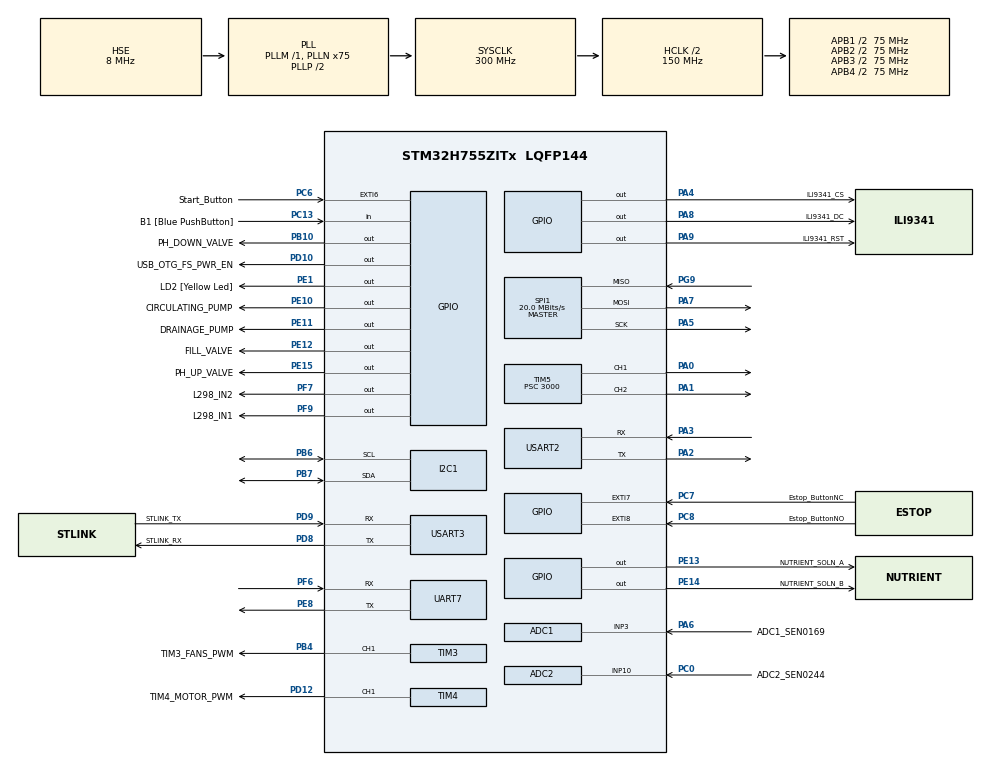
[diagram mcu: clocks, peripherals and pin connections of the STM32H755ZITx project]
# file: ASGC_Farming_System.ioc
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ADC1.Channel-0\#ChannelRegularConversion=ADC_CHANNEL_3
ADC1.NbrOfConversionFlag=1
ADC1.OffsetNumber-0\#ChannelRegularConversion=ADC_OFFSET_NONE
ADC1.OffsetSignedSaturation-0\#ChannelRegularConversion=DISABLE
ADC1.Rank-0\#ChannelRegularConversion=1
ADC1.Resolution=ADC_RESOLUTION_12B
ADC1.SamplingTime-0\#ChannelRegularConversion=ADC_SAMPLETIME_8CYCLES_5
ADC1.master=1
ADC2.Channel-3\#ChannelRegularConversion=ADC_CHANNEL_10
ADC2.NbrOfConversionFlag=1
ADC2.OffsetNumber-3\#ChannelRegularConversion=ADC_OFFSET_NONE
ADC2.OffsetSignedSaturation-3\#ChannelRegularConversion=DISABLE
ADC2.Rank-3\#ChannelRegularConversion=1
ADC2.Resolution=ADC_RESOLUTION_12B
ADC2.SamplingTime-3\#ChannelRegularConversion=ADC_SAMPLETIME_1CYCLE_5
CortexM4.IPs=FATFS_M4\:I,FREERTOS_M4\:I,IWDG2\:I,RCC,WWDG2\:I,DMA,BDMA,MDMA,NVIC2\:I,USART3,USB_DEVICE_M4\:I,USB_HOST_M4\:I,PDM2PCM_M4\:I,PWR,RESMGR_UTILITY,SYS_M4\:I,CORTEX_M4\:I,OPENAMP_M4\:I,VREFBUF,GPIO,TIM2\:I
CortexM7.IPs=FATFS_M7\:I,FREERTOS_M7\:I,IWDG1\:I,RCC\:I,WWDG1\:I,DMA\:I,BDMA\:I,MDMA\:I,NVIC1\:I,SYS\:I,CORTEX_M7\:I,USB_DEVICE_M7\:I,USB_HOST_M7\:I,PDM2PCM_M7\:I,PWR\:I,RESMGR_UTILITY\:I,OPENAMP_M7\:I,VREFBUF\:I,GPIO\:I,TIM1\:I,I2C1\:I,TIM3\:I,DEBUG\:I,USART2\:I,USART3\:I,ADC1\:I,TIM4\:I,ADC2\:I,SPI1\:I,UART7\:I,TIM5\:I
CortexM7.Pins=PF7,PF9,PA4,PE10,PE11,PE12,PE13,PE14,PE15,PB10,PC6,PC7,PC8,PA8,PA9
I2C1.Timing=0x109093DC
Mcu.Family=STM32H7
Mcu.Name=STM32H755ZITx
Mcu.Package=LQFP144
NVIC1.EXTI9_5_IRQn=true\:0\:0\:false\:false\:true\:true\:true\:true
NVIC1.PriorityGroup=NVIC_PRIORITYGROUP_4
NVIC2.PriorityGroup=NVIC_PRIORITYGROUP_4
PA0.PinAttribute=CortexM7
PA0.Signal=S_TIM5_CH1
PA1.PinAttribute=CortexM7
PA1.Signal=S_TIM5_CH2
PA2.Mode=Asynchronous
PA2.PinAttribute=CortexM7
PA2.Signal=USART2_TX
PA3.Mode=Asynchronous
PA3.PinAttribute=CortexM7
PA3.Signal=USART2_RX
PA4.GPIO_Label=ILI9341_CS
PA4.GPIO_Speed=GPIO_SPEED_FREQ_VERY_HIGH
PA4.PinAttribute=CortexM7
PA4.Signal=GPIO_Output
PA5.Mode=Full_Duplex_Master
PA5.PinAttribute=CortexM7
PA5.Signal=SPI1_SCK
PA6.GPIO_Label=ADC1_SEN0169
PA6.PinAttribute=CortexM7
PA6.Signal=ADCx_INP3
PA7.Mode=Full_Duplex_Master
PA7.PinAttribute=CortexM7
PA7.Signal=SPI1_MOSI
PA8.GPIO_Label=ILI9341_DC
PA8.GPIO_Speed=GPIO_SPEED_FREQ_VERY_HIGH
PA8.PinAttribute=CortexM7
PA8.Signal=GPIO_Output
PA9.GPIO_Label=ILI9341_RST
PA9.GPIO_Speed=GPIO_SPEED_FREQ_VERY_HIGH
PA9.PinAttribute=CortexM7
PA9.Signal=GPIO_Output
PB0.PinAttribute=CortexM7
PB0.Signal=USB_OTG_HS_ULPI_D1
PB10.GPIO_Label=PH_DOWN_VALVE
PB10.PinAttribute=CortexM7
PB10.Signal=GPIO_Output
PB14.PinAttribute=CortexM7
PB14.Signal=USB_OTG_HS_DM
PB4\ (NJTRST).GPIO_Label=TIM3_FANS_PWM
PB4\ (NJTRST).PinAttribute=CortexM7
PB4\ (NJTRST).Signal=S_TIM3_CH1
PB6.Mode=I2C
PB6.PinAttribute=CortexM7
PB6.Signal=I2C1_SCL
PB7.Mode=I2C
PB7.PinAttribute=CortexM7
PB7.Signal=I2C1_SDA
PC0.GPIO_Label=ADC2_SEN0244
PC0.PinAttribute=CortexM7
PC0.Signal=ADCx_INP10
PC13.GPIO_Label=B1 [Blue PushButton]
PC13.PinAttribute=Free
PC13.Signal=GPIO_Input
PC14-OSC32_IN\ (OSC32_IN).PinAttribute=CortexM7
PC14-OSC32_IN\ (OSC32_IN).Signal=RCC_OSC32_IN
PC15-OSC32_OUT\ (OSC32_OUT).PinAttribute=CortexM7
PC15-OSC32_OUT\ (OSC32_OUT).Signal=RCC_OSC32_OUT
PC6.GPIO_Label=Start_Button
PC6.GPIO_ModeDefaultEXTI=GPIO_MODE_IT_FALLING
PC6.GPIO_PuPd=GPIO_PULLDOWN
PC6.PinAttribute=CortexM7
PC6.Signal=GPXTI6
PC7.GPIO_Label=Estop_ButtonNC
PC7.GPIO_ModeDefaultEXTI=GPIO_MODE_IT_FALLING
PC7.GPIO_PuPd=GPIO_PULLDOWN
PC7.PinAttribute=CortexM7
PC7.Signal=GPXTI7
PC8.GPIO_Label=Estop_ButtonNO
PC8.GPIO_PuPd=GPIO_PULLDOWN
PC8.PinAttribute=CortexM7
PC8.Signal=GPXTI8
PD10.GPIO_Label=USB_OTG_FS_PWR_EN
PD10.PinAttribute=Free
PD10.Signal=GPIO_Output
PD12.GPIO_Label=TIM4_MOTOR_PWM
PD12.PinAttribute=CortexM7
PD12.Signal=S_TIM4_CH1
PD8.GPIO_Label=STLINK_RX
PD8.Mode=Asynchronous
PD8.PinAttribute=CortexM7
PD8.Signal=USART3_TX
PD9.GPIO_Label=STLINK_TX
PD9.Mode=Asynchronous
PD9.PinAttribute=CortexM7
PD9.Signal=USART3_RX
PE1.GPIO_Label=LD2 [Yellow Led]
PE1.PinAttribute=Free
PE1.Signal=GPIO_Output
PE10.GPIO_Label=CIRCULATING_PUMP
PE10.PinAttribute=CortexM7
PE10.Signal=GPIO_Output
PE11.GPIO_Label=DRAINAGE_PUMP
PE11.PinAttribute=CortexM7
PE11.Signal=GPIO_Output
PE12.GPIO_Label=FILL_VALVE
PE12.PinAttribute=CortexM7
PE12.Signal=GPIO_Output
PE13.GPIO_Label=NUTRIENT_SOLN_A
PE13.PinAttribute=CortexM7
PE13.Signal=GPIO_Output
PE14.GPIO_Label=NUTRIENT_SOLN_B
PE14.PinAttribute=CortexM7
PE14.Signal=GPIO_Output
PE15.GPIO_Label=PH_UP_VALVE
PE15.PinAttribute=CortexM7
PE15.Signal=GPIO_Output
PE8.Mode=Asynchronous
PE8.PinAttribute=CortexM7
PE8.Signal=UART7_TX
PF6.Mode=Asynchronous
PF6.PinAttribute=CortexM7
PF6.Signal=UART7_RX
PF7.GPIO_Label=L298_IN2
PF7.PinAttribute=CortexM7
PF7.Signal=GPIO_Output
PF9.GPIO_Label=L298_IN1
PF9.PinAttribute=CortexM7
PF9.Signal=GPIO_Output
PG11.PinAttribute=CortexM7
PG11.Signal=ETH_TX_EN
PG13.PinAttribute=CortexM7
PG13.Signal=ETH_TXD0
PG9.Mode=Full_Duplex_Master
PG9.PinAttribute=CortexM7
PG9.Signal=SPI1_MISO
PH0-OSC_IN\ (PH0).Mode=HSE-External-Oscillator
PH0-OSC_IN\ (PH0).PinAttribute=CortexM7
PH0-OSC_IN\ (PH0).Signal=RCC_OSC_IN
PH1-OSC_OUT\ (PH1).Mode=HSE-External-Oscillator
PH1-OSC_OUT\ (PH1).PinAttribute=CortexM7
PH1-OSC_OUT\ (PH1).Signal=RCC_OSC_OUT
ProjectManager.HeapSize=M4-0x200,M7-0x200
ProjectManager.StackSize=M4-0x400,M7-0x400
ProjectManager.TargetToolchain=STM32CubeIDE
RCC.ADCFreq_Value=76000000
RCC.APB1Freq_Value=75000000
RCC.APB2Freq_Value=75000000
RCC.APB3Freq_Value=75000000
RCC.APB4Freq_Value=75000000
RCC.CortexFreq_Value=300000000
RCC.D1PPRE=RCC_APB3_DIV2
RCC.D2PPRE1=RCC_APB1_DIV2
RCC.D2PPRE2=RCC_APB2_DIV2
RCC.D3PPRE=RCC_APB4_DIV2
RCC.DIVM1=1
RCC.DIVM2=1
RCC.DIVM3=3
RCC.DIVN1=75
RCC.DIVN2=19
RCC.DIVN3=60
RCC.DIVP3=4
RCC.DIVQ1=8
RCC.HCLKFreq_Value=150000000
RCC.HPRE=RCC_HCLK_DIV2
RCC.HSE_VALUE=8000000
RCC.PLL2FRACN=0
RCC.PLL3FRACN=0
RCC.PLLFRACN=0
RCC.PLLSourceVirtual=RCC_PLLSOURCE_HSE
RCC.PWR_Regulator_Voltage_Scale=PWR_REGULATOR_VOLTAGE_SCALE2
RCC.SPI123CLockSelection=RCC_SPI123CLKSOURCE_PLL3
RCC.SYSCLKFreq_VALUE=300000000
RCC.SYSCLKSource=RCC_SYSCLKSOURCE_PLLCLK
RCC.SupplySource=PWR_DIRECT_SMPS_SUPPLY
RCC.USBCLockSelection=RCC_USBCLKSOURCE_HSI48
RCC.USBFreq_Value=48000000
SH.ADCx_INP10.0=ADC2_INP10,IN10-Single-Ended
SH.ADCx_INP3.0=ADC1_INP3,IN3-Single-Ended
SH.S_TIM3_CH1.0=TIM3_CH1,PWM Generation1 CH1
SH.S_TIM4_CH1.0=TIM4_CH1,PWM Generation1 CH1
SH.S_TIM5_CH1.0=TIM5_CH1,PWM Generation1 CH1
SH.S_TIM5_CH2.0=TIM5_CH2,PWM Generation2 CH2
SPI1.CalculateBaudRate=20.0 MBits/s
SPI1.DataSize=SPI_DATASIZE_8BIT
SPI1.Direction=SPI_DIRECTION_2LINES
SPI1.Mode=SPI_MODE_MASTER
SPI1.NSSPMode=SPI_NSS_PULSE_DISABLE
SPI1.VirtualType=VM_MASTER
TIM3.AutoReloadPreload=TIM_AUTORELOAD_PRELOAD_ENABLE
TIM3.Channel-PWM\ Generation1\ CH1=TIM_CHANNEL_1
TIM3.Period=12000
TIM4.AutoReloadPreload=TIM_AUTORELOAD_PRELOAD_ENABLE
TIM4.Channel-PWM\ Generation1\ CH1=TIM_CHANNEL_1
TIM4.Period=60000
TIM5.Channel-PWM\ Generation1\ CH1=TIM_CHANNEL_1
TIM5.Channel-PWM\ Generation2\ CH2=TIM_CHANNEL_2
TIM5.Period=2000
TIM5.Prescaler=3000
USART2.VirtualMode-Asynchronous=VM_ASYNC
USART3.VirtualMode-Asynchronous=VM_ASYNC
VP_SYS_M4_VS_Systick.Mode=SysTick
VP_TIM3_VS_ClockSourceINT.Mode=Internal
VP_TIM4_VS_ClockSourceINT.Mode=Internal
VP_TIM5_VS_ClockSourceINT.Mode=Internal
VP_VREFBUF_V_VREFBUF.Mode=ExternalMode
board=NUCLEO-H755ZI-Q

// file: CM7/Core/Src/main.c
/* USER CODE BEGIN Header */
/**
  ******************************************************************************
  * @file           : main.c
  * @brief          : Main program body
  ******************************************************************************
  * @attention
  *
  * Copyright (c) 2025 STMicroelectronics.
  * All rights reserved.
  *
  * This software is licensed under terms that can be found in the LICENSE file
  * in the root directory of this software component.
  * If no LICENSE file comes with this software, it is provided AS-IS.
  *
  ******************************************************************************
  */
/* USER CODE END Header */
#include "main.h"

/* USER CODE BEGIN Includes */
#include "functionality_mngmnt.h"
#include "AHT20.h"
#include "FAN_pwm_intf.h"
#include "PWM.h"
#include "Buttons.h"
#include "timer.h"
#include "CNC.h"
#include "SEN0169.h"
#include "SEN0244.h"
#include "mixing_motor.h"
#include "gpio_switching_intf.h"
#include "Adafruit_AS7341.h"
#include "ILI9341/ILI9341_STM32_Driver.h"
#include "ILI9341/ILI9341_GFX.h"
#include "vl53l1_api.h"
#include "FSM.h"
#include "Scheduler.h"
#include "VL53L1X_prj.h"
#include "RPI_UART.h"

/* USER CODE END Includes */

/* USER CODE BEGIN PD */
#ifndef HSEM_ID_0
#define HSEM_ID_0 (0U) /* HW semaphore 0*/
#endif
/* USER CODE END PD */

ADC_HandleTypeDef hadc1;
ADC_HandleTypeDef hadc2;

I2C_HandleTypeDef hi2c1;

SPI_HandleTypeDef hspi1;

TIM_HandleTypeDef htim3;
TIM_HandleTypeDef htim4;
TIM_HandleTypeDef htim5;

UART_HandleTypeDef huart7;
UART_HandleTypeDef huart2;
UART_HandleTypeDef huart3;

/* USER CODE BEGIN PV */

/*-----------------------------------------------------------------------------
GLOBAL VARIABLES
-----------------------------------------------------------------------------*/

bool SYSTEM_START_STATE;            /* Global Start State, triggered by Start Button  */
bool SYSTEM_ESTOP_STATE;            /* Global EStop State, triggered by EStop Button  */

uint64_t globalTimestamp = 0;       /* Global timestamp in ms since system start      */
uint64_t systemStartTimestamp = 0;  /* Timestamp in ms of start button press          */

// VL53L1X Time of Flight Distance Sensor Data
VL53L1_RangingMeasurementData_t RangingData;
VL53L1_Dev_t  vl53l1_c; // center module
VL53L1_DEV    Dev = &vl53l1_c;

// AHT20 Temperature and Humidity Data
struct AHT20_Data AHT20_data;

// SEN0169 pH Data
SEN0169_pH_Data pH_Data;

// SEN0244 TDS Data
SEN0244_TDS_Data tdsData;

// AS7341 Spectral Sensor Data
uint16_t AS7341_Values[12];

/*-----------------------------------------------------------------------------
FUNCTION PROTOTYPES
-----------------------------------------------------------------------------*/
/* USER CODE END PV */

void SystemClock_Config(void);
void PeriphCommonClock_Config(void);
static void MX_GPIO_Init(void);
static void MX_USART3_UART_Init(void);
static void MX_I2C1_Init(void);
static void MX_TIM3_Init(void);
static void MX_USART2_UART_Init(void);
static void MX_ADC1_Init(void);
static void MX_TIM4_Init(void);
static void MX_ADC2_Init(void);
static void MX_SPI1_Init(void);
static void MX_UART7_Init(void);
static void MX_TIM5_Init(void);

/* USER CODE BEGIN 0 */

/*-----------------------------------------------------------------------------
MAIN() FUNCTION
-----------------------------------------------------------------------------*/
/* USER CODE END 0 */

int main(void)
{

  /* USER CODE BEGIN 1 */

  SYSTEM_START_STATE = SYSTEM_OFF;
  SYSTEM_ESTOP_STATE = SYSTEM_OFF;

  /* USER CODE END 1 */
/* USER CODE BEGIN Boot_Mode_Sequence_0 */
  int32_t timeout;
/* USER CODE END Boot_Mode_Sequence_0 */

/* USER CODE BEGIN Boot_Mode_Sequence_1 */
  /* Wait until CPU2 boots and enters in stop mode or timeout*/
  timeout = 0xFFFF;
  while((__HAL_RCC_GET_FLAG(RCC_FLAG_D2CKRDY) != RESET) && (timeout-- > 0));
  if ( timeout < 0 )
  {
  Error_Handler();
  }
/* USER CODE END Boot_Mode_Sequence_1 */
  /* MCU Configuration--------------------------------------------------------*/

  /* Reset of all peripherals, Initializes the Flash interface and the Systick. */
  HAL_Init();

  /* Configure the system clock */
  SystemClock_Config();

  /* Configure the peripherals common clocks */
  PeriphCommonClock_Config();
/* USER CODE BEGIN Boot_Mode_Sequence_2 */
/* When system initialization is finished, Cortex-M7 will release Cortex-M4 by means of
HSEM notification */
/*HW semaphore Clock enable*/
__HAL_RCC_HSEM_CLK_ENABLE();
/*Take HSEM */
HAL_HSEM_FastTake(HSEM_ID_0);
/*Release HSEM in order to notify the CPU2(CM4)*/
HAL_HSEM_Release(HSEM_ID_0,0);
/* wait until CPU2 wakes up from stop mode */
timeout = 0xFFFF;
while((__HAL_RCC_GET_FLAG(RCC_FLAG_D2CKRDY) == RESET) && (timeout-- > 0));
if ( timeout < 0 )
{
Error_Handler();
}
/* USER CODE END Boot_Mode_Sequence_2 */

  /* USER CODE BEGIN SysInit */
  /*---------------------------------------------------------------------------
  PERIPHERAL INITIALIZATION
  ---------------------------------------------------------------------------*/
  /* USER CODE END SysInit */

  /* Initialize all configured peripherals */
  MX_GPIO_Init();
  MX_USART3_UART_Init();
  MX_I2C1_Init();
  MX_TIM3_Init();
  MX_USART2_UART_Init();
  MX_ADC1_Init();
  MX_TIM4_Init();
  MX_ADC2_Init();
  MX_SPI1_Init();
  MX_UART7_Init();
  MX_TIM5_Init();
  /* USER CODE BEGIN 2 */

  /*---------------------------------------------------------------------------
  DEVICE DRIVER INITIALIZATION
  ---------------------------------------------------------------------------*/
  Buttons_Init(&SYSTEM_START_STATE);
  ASGC_Timer_Init();
  FAN_pwm_intf_Init(htim3);
  // PWM_VerticalServo_Init(htim); // add timer reference here
  // PWM_ShutterServo_Init(htim);  // add timer reference here
  mixing_motor_Init(htim4);
  HAL_Delay(45);             // Must be called prior to AHT20_Init()
  AHT20_Init(&hi2c1, 10000); // 10 second timeout
  SEN0169_Init();
  SEN0244_Init();
  GPIO_switching_intf_Init();
  Adafruit_AS7341_begin(AS7341_I2CADDR_DEFAULT, &hi2c1, 0);
  VL53L1X_prj_Init(Dev, &hi2c1);
  ILI9341_Init();

  if (CNC_Init() == SYS_SUCCESS) {

  }
  else {

  }

  /*---------------------------------------------------------------------------
  INITIALIZE ALL HIGH-LEVEL MODULES
  ---------------------------------------------------------------------------*/
  FSM_Init();
  Scheduler_Init();

  // Set screen orientation and background
  ILI9341_Set_Rotation(SCREEN_HORIZONTAL_2);
  ILI9341_Fill_Screen(BLACK);
  Write_Logo();
  // Display_Dashboard(int i);           // placeholder for now
  // Display_StartupScreen();            // placeholder for now
  // Display_EStopScreen();             // placeholder for now

  HAL_Delay(100);

  /* USER CODE END 2 */

  /* Infinite loop */
  while (1)
  {

    /* USER CODE BEGIN 3 */

    // Update global timestamp
  globalTimestamp = getTimestamp();

    // Update the FSM state
	FSM_Update();
    // Run the scheduler update every loop iteration
	Scheduler_Update();

	  //For testing purposes
	  //CNC_Home_Command();

    // Get distance measurement from VL53L1X ToF sensor
    // VL53L1X_GetRangingMeasurementData( Dev, &RangingData );

    //Test MOSTFET GPIO switching interface
//    GPIO_set_ph_up_valve(VALVE_OPEN);
//    HAL_Delay(3000);
//    GPIO_set_ph_up_valve(VALVE_CLOSED);
//    HAL_Delay(3000);

    mixing_motor_handle_state();

  }
  /* USER CODE END 3 */
}

void SystemClock_Config(void)
{
  RCC_OscInitTypeDef RCC_OscInitStruct = {0};
  RCC_ClkInitTypeDef RCC_ClkInitStruct = {0};

  /** Supply configuration update enable
  */
  HAL_PWREx_ConfigSupply(PWR_DIRECT_SMPS_SUPPLY);

  /** Configure the main internal regulator output voltage
  */
  __HAL_PWR_VOLTAGESCALING_CONFIG(PWR_REGULATOR_VOLTAGE_SCALE2);

  while(!__HAL_PWR_GET_FLAG(PWR_FLAG_VOSRDY)) {}

  /** Initializes the RCC Oscillators according to the specified parameters
  * in the RCC_OscInitTypeDef structure.
  */
  RCC_OscInitStruct.OscillatorType = RCC_OSCILLATORTYPE_HSE;
  RCC_OscInitStruct.HSEState = RCC_HSE_ON;
  RCC_OscInitStruct.PLL.PLLState = RCC_PLL_ON;
  RCC_OscInitStruct.PLL.PLLSource = RCC_PLLSOURCE_HSE;
  RCC_OscInitStruct.PLL.PLLM = 1;
  RCC_OscInitStruct.PLL.PLLN = 75;
  RCC_OscInitStruct.PLL.PLLP = 2;
  RCC_OscInitStruct.PLL.PLLQ = 8;
  RCC_OscInitStruct.PLL.PLLR = 2;
  RCC_OscInitStruct.PLL.PLLRGE = RCC_PLL1VCIRANGE_3;
  RCC_OscInitStruct.PLL.PLLVCOSEL = RCC_PLL1VCOWIDE;
  RCC_OscInitStruct.PLL.PLLFRACN = 0;
  if (HAL_RCC_OscConfig(&RCC_OscInitStruct) != HAL_OK)
  {
    Error_Handler();
  }

  /** Initializes the CPU, AHB and APB buses clocks
  */
  RCC_ClkInitStruct.ClockType = RCC_CLOCKTYPE_HCLK|RCC_CLOCKTYPE_SYSCLK
                              |RCC_CLOCKTYPE_PCLK1|RCC_CLOCKTYPE_PCLK2
                              |RCC_CLOCKTYPE_D3PCLK1|RCC_CLOCKTYPE_D1PCLK1;
  RCC_ClkInitStruct.SYSCLKSource = RCC_SYSCLKSOURCE_PLLCLK;
  RCC_ClkInitStruct.SYSCLKDivider = RCC_SYSCLK_DIV1;
  RCC_ClkInitStruct.AHBCLKDivider = RCC_HCLK_DIV2;
  RCC_ClkInitStruct.APB3CLKDivider = RCC_APB3_DIV2;
  RCC_ClkInitStruct.APB1CLKDivider = RCC_APB1_DIV2;
  RCC_ClkInitStruct.APB2CLKDivider = RCC_APB2_DIV2;
  RCC_ClkInitStruct.APB4CLKDivider = RCC_APB4_DIV2;

  if (HAL_RCC_ClockConfig(&RCC_ClkInitStruct, FLASH_LATENCY_2) != HAL_OK)
  {
    Error_Handler();
  }
}

void PeriphCommonClock_Config(void)
{
  RCC_PeriphCLKInitTypeDef PeriphClkInitStruct = {0};

  /** Initializes the peripherals clock
  */
  PeriphClkInitStruct.PeriphClockSelection = RCC_PERIPHCLK_ADC;
  PeriphClkInitStruct.PLL2.PLL2M = 1;
  PeriphClkInitStruct.PLL2.PLL2N = 19;
  PeriphClkInitStruct.PLL2.PLL2P = 2;
  PeriphClkInitStruct.PLL2.PLL2Q = 2;
  PeriphClkInitStruct.PLL2.PLL2R = 2;
  PeriphClkInitStruct.PLL2.PLL2RGE = RCC_PLL2VCIRANGE_3;
  PeriphClkInitStruct.PLL2.PLL2VCOSEL = RCC_PLL2VCOMEDIUM;
  PeriphClkInitStruct.PLL2.PLL2FRACN = 0;
  PeriphClkInitStruct.AdcClockSelection = RCC_ADCCLKSOURCE_PLL2;
  if (HAL_RCCEx_PeriphCLKConfig(&PeriphClkInitStruct) != HAL_OK)
  {
    Error_Handler();
  }
}

static void MX_ADC1_Init(void)
{

  ADC_MultiModeTypeDef multimode = {0};
  ADC_ChannelConfTypeDef sConfig = {0};

  /** Common config
  */
  hadc1.Instance = ADC1;
  hadc1.Init.ClockPrescaler = ADC_CLOCK_ASYNC_DIV2;
  hadc1.Init.Resolution = ADC_RESOLUTION_12B;
  hadc1.Init.ScanConvMode = ADC_SCAN_DISABLE;
  hadc1.Init.EOCSelection = ADC_EOC_SINGLE_CONV;
  hadc1.Init.LowPowerAutoWait = DISABLE;
  hadc1.Init.ContinuousConvMode = DISABLE;
  hadc1.Init.NbrOfConversion = 1;
  hadc1.Init.DiscontinuousConvMode = DISABLE;
  hadc1.Init.ExternalTrigConv = ADC_SOFTWARE_START;
  hadc1.Init.ExternalTrigConvEdge = ADC_EXTERNALTRIGCONVEDGE_NONE;
  hadc1.Init.ConversionDataManagement = ADC_CONVERSIONDATA_DR;
  hadc1.Init.Overrun = ADC_OVR_DATA_PRESERVED;
  hadc1.Init.LeftBitShift = ADC_LEFTBITSHIFT_NONE;
  hadc1.Init.OversamplingMode = DISABLE;
  hadc1.Init.Oversampling.Ratio = 1;
  if (HAL_ADC_Init(&hadc1) != HAL_OK)
  {
    Error_Handler();
  }

  /** Configure the ADC multi-mode
  */
  multimode.Mode = ADC_MODE_INDEPENDENT;
  if (HAL_ADCEx_MultiModeConfigChannel(&hadc1, &multimode) != HAL_OK)
  {
    Error_Handler();
  }

  /** Configure Regular Channel
  */
  sConfig.Channel = ADC_CHANNEL_3;
  sConfig.Rank = ADC_REGULAR_RANK_1;
  sConfig.SamplingTime = ADC_SAMPLETIME_8CYCLES_5;
  sConfig.SingleDiff = ADC_SINGLE_ENDED;
  sConfig.OffsetNumber = ADC_OFFSET_NONE;
  sConfig.Offset = 0;
  sConfig.OffsetSignedSaturation = DISABLE;
  if (HAL_ADC_ConfigChannel(&hadc1, &sConfig) != HAL_OK)
  {
    Error_Handler();
  }

}

static void MX_ADC2_Init(void)
{

  ADC_ChannelConfTypeDef sConfig = {0};

  /** Common config
  */
  hadc2.Instance = ADC2;
  hadc2.Init.ClockPrescaler = ADC_CLOCK_ASYNC_DIV2;
  hadc2.Init.Resolution = ADC_RESOLUTION_12B;
  hadc2.Init.ScanConvMode = ADC_SCAN_DISABLE;
  hadc2.Init.EOCSelection = ADC_EOC_SINGLE_CONV;
  hadc2.Init.LowPowerAutoWait = DISABLE;
  hadc2.Init.ContinuousConvMode = DISABLE;
  hadc2.Init.NbrOfConversion = 1;
  hadc2.Init.DiscontinuousConvMode = DISABLE;
  hadc2.Init.ExternalTrigConv = ADC_SOFTWARE_START;
  hadc2.Init.ExternalTrigConvEdge = ADC_EXTERNALTRIGCONVEDGE_NONE;
  hadc2.Init.ConversionDataManagement = ADC_CONVERSIONDATA_DR;
  hadc2.Init.Overrun = ADC_OVR_DATA_PRESERVED;
  hadc2.Init.LeftBitShift = ADC_LEFTBITSHIFT_NONE;
  hadc2.Init.OversamplingMode = DISABLE;
  hadc2.Init.Oversampling.Ratio = 1;
  if (HAL_ADC_Init(&hadc2) != HAL_OK)
  {
    Error_Handler();
  }

  /** Configure Regular Channel
  */
  sConfig.Channel = ADC_CHANNEL_10;
  sConfig.Rank = ADC_REGULAR_RANK_1;
  sConfig.SamplingTime = ADC_SAMPLETIME_1CYCLE_5;
  sConfig.SingleDiff = ADC_SINGLE_ENDED;
  sConfig.OffsetNumber = ADC_OFFSET_NONE;
  sConfig.Offset = 0;
  sConfig.OffsetSignedSaturation = DISABLE;
  if (HAL_ADC_ConfigChannel(&hadc2, &sConfig) != HAL_OK)
  {
    Error_Handler();
  }

}

static void MX_I2C1_Init(void)
{

  hi2c1.Instance = I2C1;
  hi2c1.Init.Timing = 0x109093DC;
  hi2c1.Init.OwnAddress1 = 0;
  hi2c1.Init.AddressingMode = I2C_ADDRESSINGMODE_7BIT;
  hi2c1.Init.DualAddressMode = I2C_DUALADDRESS_DISABLE;
  hi2c1.Init.OwnAddress2 = 0;
  hi2c1.Init.OwnAddress2Masks = I2C_OA2_NOMASK;
  hi2c1.Init.GeneralCallMode = I2C_GENERALCALL_DISABLE;
  hi2c1.Init.NoStretchMode = I2C_NOSTRETCH_DISABLE;
  if (HAL_I2C_Init(&hi2c1) != HAL_OK)
  {
    Error_Handler();
  }

  /** Configure Analogue filter
  */
  if (HAL_I2CEx_ConfigAnalogFilter(&hi2c1, I2C_ANALOGFILTER_ENABLE) != HAL_OK)
  {
    Error_Handler();
  }

  /** Configure Digital filter
  */
  if (HAL_I2CEx_ConfigDigitalFilter(&hi2c1, 0) != HAL_OK)
  {
    Error_Handler();
  }

}

static void MX_SPI1_Init(void)
{

  /* SPI1 parameter configuration*/
  hspi1.Instance = SPI1;
  hspi1.Init.Mode = SPI_MODE_MASTER;
  hspi1.Init.Direction = SPI_DIRECTION_2LINES;
  hspi1.Init.DataSize = SPI_DATASIZE_8BIT;
  hspi1.Init.CLKPolarity = SPI_POLARITY_LOW;
  hspi1.Init.CLKPhase = SPI_PHASE_1EDGE;
  hspi1.Init.NSS = SPI_NSS_SOFT;
  hspi1.Init.BaudRatePrescaler = SPI_BAUDRATEPRESCALER_2;
  hspi1.Init.FirstBit = SPI_FIRSTBIT_MSB;
  hspi1.Init.TIMode = SPI_TIMODE_DISABLE;
  hspi1.Init.CRCCalculation = SPI_CRCCALCULATION_DISABLE;
  hspi1.Init.CRCPolynomial = 0x0;
  hspi1.Init.NSSPMode = SPI_NSS_PULSE_DISABLE;
  hspi1.Init.NSSPolarity = SPI_NSS_POLARITY_LOW;
  hspi1.Init.FifoThreshold = SPI_FIFO_THRESHOLD_01DATA;
  hspi1.Init.TxCRCInitializationPattern = SPI_CRC_INITIALIZATION_ALL_ZERO_PATTERN;
  hspi1.Init.RxCRCInitializationPattern = SPI_CRC_INITIALIZATION_ALL_ZERO_PATTERN;
  hspi1.Init.MasterSSIdleness = SPI_MASTER_SS_IDLENESS_00CYCLE;
  hspi1.Init.MasterInterDataIdleness = SPI_MASTER_INTERDATA_IDLENESS_00CYCLE;
  hspi1.Init.MasterReceiverAutoSusp = SPI_MASTER_RX_AUTOSUSP_DISABLE;
  hspi1.Init.MasterKeepIOState = SPI_MASTER_KEEP_IO_STATE_DISABLE;
  hspi1.Init.IOSwap = SPI_IO_SWAP_DISABLE;
  if (HAL_SPI_Init(&hspi1) != HAL_OK)
  {
    Error_Handler();
  }

}

static void MX_TIM3_Init(void)
{

  TIM_ClockConfigTypeDef sClockSourceConfig = {0};
  TIM_MasterConfigTypeDef sMasterConfig = {0};
  TIM_OC_InitTypeDef sConfigOC = {0};

  htim3.Instance = TIM3;
  htim3.Init.Prescaler = 0;
  htim3.Init.CounterMode = TIM_COUNTERMODE_UP;
  htim3.Init.Period = 12000;
  htim3.Init.ClockDivision = TIM_CLOCKDIVISION_DIV1;
  htim3.Init.AutoReloadPreload = TIM_AUTORELOAD_PRELOAD_ENABLE;
  if (HAL_TIM_Base_Init(&htim3) != HAL_OK)
  {
    Error_Handler();
  }
  sClockSourceConfig.ClockSource = TIM_CLOCKSOURCE_INTERNAL;
  if (HAL_TIM_ConfigClockSource(&htim3, &sClockSourceConfig) != HAL_OK)
  {
    Error_Handler();
  }
  if (HAL_TIM_PWM_Init(&htim3) != HAL_OK)
  {
    Error_Handler();
  }
  sMasterConfig.MasterOutputTrigger = TIM_TRGO_RESET;
  sMasterConfig.MasterSlaveMode = TIM_MASTERSLAVEMODE_DISABLE;
  if (HAL_TIMEx_MasterConfigSynchronization(&htim3, &sMasterConfig) != HAL_OK)
  {
    Error_Handler();
  }
  sConfigOC.OCMode = TIM_OCMODE_PWM1;
  sConfigOC.Pulse = 0;
  sConfigOC.OCPolarity = TIM_OCPOLARITY_HIGH;
  sConfigOC.OCFastMode = TIM_OCFAST_DISABLE;
  if (HAL_TIM_PWM_ConfigChannel(&htim3, &sConfigOC, TIM_CHANNEL_1) != HAL_OK)
  {
    Error_Handler();
  }
  HAL_TIM_MspPostInit(&htim3);

}

static void MX_TIM4_Init(void)
{

  TIM_ClockConfigTypeDef sClockSourceConfig = {0};
  TIM_MasterConfigTypeDef sMasterConfig = {0};
  TIM_OC_InitTypeDef sConfigOC = {0};

  htim4.Instance = TIM4;
  htim4.Init.Prescaler = 0;
  htim4.Init.CounterMode = TIM_COUNTERMODE_UP;
  htim4.Init.Period = 60000;
  htim4.Init.ClockDivision = TIM_CLOCKDIVISION_DIV1;
  htim4.Init.AutoReloadPreload = TIM_AUTORELOAD_PRELOAD_ENABLE;
  if (HAL_TIM_Base_Init(&htim4) != HAL_OK)
  {
    Error_Handler();
  }
  sClockSourceConfig.ClockSource = TIM_CLOCKSOURCE_INTERNAL;
  if (HAL_TIM_ConfigClockSource(&htim4, &sClockSourceConfig) != HAL_OK)
  {
    Error_Handler();
  }
  if (HAL_TIM_PWM_Init(&htim4) != HAL_OK)
  {
    Error_Handler();
  }
  sMasterConfig.MasterOutputTrigger = TIM_TRGO_RESET;
  sMasterConfig.MasterSlaveMode = TIM_MASTERSLAVEMODE_DISABLE;
  if (HAL_TIMEx_MasterConfigSynchronization(&htim4, &sMasterConfig) != HAL_OK)
  {
    Error_Handler();
  }
  sConfigOC.OCMode = TIM_OCMODE_PWM1;
  sConfigOC.Pulse = 0;
  sConfigOC.OCPolarity = TIM_OCPOLARITY_HIGH;
  sConfigOC.OCFastMode = TIM_OCFAST_DISABLE;
  if (HAL_TIM_PWM_ConfigChannel(&htim4, &sConfigOC, TIM_CHANNEL_1) != HAL_OK)
  {
    Error_Handler();
  }
  HAL_TIM_MspPostInit(&htim4);

}

static void MX_TIM5_Init(void)
{

  TIM_ClockConfigTypeDef sClockSourceConfig = {0};
  TIM_MasterConfigTypeDef sMasterConfig = {0};
  TIM_OC_InitTypeDef sConfigOC = {0};

  htim5.Instance = TIM5;
  htim5.Init.Prescaler = 3000;
  htim5.Init.CounterMode = TIM_COUNTERMODE_UP;
  htim5.Init.Period = 2000;
  htim5.Init.ClockDivision = TIM_CLOCKDIVISION_DIV1;
  htim5.Init.AutoReloadPreload = TIM_AUTORELOAD_PRELOAD_DISABLE;
  if (HAL_TIM_Base_Init(&htim5) != HAL_OK)
  {
    Error_Handler();
  }
  sClockSourceConfig.ClockSource = TIM_CLOCKSOURCE_INTERNAL;
  if (HAL_TIM_ConfigClockSource(&htim5, &sClockSourceConfig) != HAL_OK)
  {
    Error_Handler();
  }
  if (HAL_TIM_PWM_Init(&htim5) != HAL_OK)
  {
    Error_Handler();
  }
  sMasterConfig.MasterOutputTrigger = TIM_TRGO_RESET;
  sMasterConfig.MasterSlaveMode = TIM_MASTERSLAVEMODE_DISABLE;
  if (HAL_TIMEx_MasterConfigSynchronization(&htim5, &sMasterConfig) != HAL_OK)
  {
    Error_Handler();
  }
  sConfigOC.OCMode = TIM_OCMODE_PWM1;
  sConfigOC.Pulse = 0;
  sConfigOC.OCPolarity = TIM_OCPOLARITY_HIGH;
  sConfigOC.OCFastMode = TIM_OCFAST_DISABLE;
  if (HAL_TIM_PWM_ConfigChannel(&htim5, &sConfigOC, TIM_CHANNEL_1) != HAL_OK)
  {
    Error_Handler();
  }
  if (HAL_TIM_PWM_ConfigChannel(&htim5, &sConfigOC, TIM_CHANNEL_2) != HAL_OK)
  {
    Error_Handler();
  }
  HAL_TIM_MspPostInit(&htim5);

}

static void MX_UART7_Init(void)
{

  huart7.Instance = UART7;
  huart7.Init.BaudRate = 115200;
  huart7.Init.WordLength = UART_WORDLENGTH_8B;
  huart7.Init.StopBits = UART_STOPBITS_1;
  huart7.Init.Parity = UART_PARITY_NONE;
  huart7.Init.Mode = UART_MODE_TX_RX;
  huart7.Init.HwFlowCtl = UART_HWCONTROL_NONE;
  huart7.Init.OverSampling = UART_OVERSAMPLING_16;
  huart7.Init.OneBitSampling = UART_ONE_BIT_SAMPLE_DISABLE;
  huart7.Init.ClockPrescaler = UART_PRESCALER_DIV1;
  huart7.AdvancedInit.AdvFeatureInit = UART_ADVFEATURE_NO_INIT;
  if (HAL_UART_Init(&huart7) != HAL_OK)
  {
    Error_Handler();
  }
  if (HAL_UARTEx_SetTxFifoThreshold(&huart7, UART_TXFIFO_THRESHOLD_1_8) != HAL_OK)
  {
    Error_Handler();
  }
  if (HAL_UARTEx_SetRxFifoThreshold(&huart7, UART_RXFIFO_THRESHOLD_1_8) != HAL_OK)
  {
    Error_Handler();
  }
  if (HAL_UARTEx_DisableFifoMode(&huart7) != HAL_OK)
  {
    Error_Handler();
  }

}

static void MX_USART2_UART_Init(void)
{

  huart2.Instance = USART2;
  huart2.Init.BaudRate = 115200;
  huart2.Init.WordLength = UART_WORDLENGTH_8B;
  huart2.Init.StopBits = UART_STOPBITS_1;
  huart2.Init.Parity = UART_PARITY_NONE;
  huart2.Init.Mode = UART_MODE_TX_RX;
  huart2.Init.HwFlowCtl = UART_HWCONTROL_NONE;
  huart2.Init.OverSampling = UART_OVERSAMPLING_16;
  huart2.Init.OneBitSampling = UART_ONE_BIT_SAMPLE_DISABLE;
  huart2.Init.ClockPrescaler = UART_PRESCALER_DIV1;
  huart2.AdvancedInit.AdvFeatureInit = UART_ADVFEATURE_NO_INIT;
  if (HAL_UART_Init(&huart2) != HAL_OK)
  {
    Error_Handler();
  }
  if (HAL_UARTEx_SetTxFifoThreshold(&huart2, UART_TXFIFO_THRESHOLD_1_8) != HAL_OK)
  {
    Error_Handler();
  }
  if (HAL_UARTEx_SetRxFifoThreshold(&huart2, UART_RXFIFO_THRESHOLD_1_8) != HAL_OK)
  {
    Error_Handler();
  }
  if (HAL_UARTEx_DisableFifoMode(&huart2) != HAL_OK)
  {
    Error_Handler();
  }

}

static void MX_USART3_UART_Init(void)
{

  huart3.Instance = USART3;
  huart3.Init.BaudRate = 115200;
  huart3.Init.WordLength = UART_WORDLENGTH_8B;
  huart3.Init.StopBits = UART_STOPBITS_1;
  huart3.Init.Parity = UART_PARITY_NONE;
  huart3.Init.Mode = UART_MODE_TX_RX;
  huart3.Init.HwFlowCtl = UART_HWCONTROL_NONE;
  huart3.Init.OverSampling = UART_OVERSAMPLING_16;
  huart3.Init.OneBitSampling = UART_ONE_BIT_SAMPLE_DISABLE;
  huart3.Init.ClockPrescaler = UART_PRESCALER_DIV1;
  huart3.AdvancedInit.AdvFeatureInit = UART_ADVFEATURE_NO_INIT;
  if (HAL_UART_Init(&huart3) != HAL_OK)
  {
    Error_Handler();
  }
  if (HAL_UARTEx_SetTxFifoThreshold(&huart3, UART_TXFIFO_THRESHOLD_1_8) != HAL_OK)
  {
    Error_Handler();
  }
  if (HAL_UARTEx_SetRxFifoThreshold(&huart3, UART_RXFIFO_THRESHOLD_1_8) != HAL_OK)
  {
    Error_Handler();
  }
  if (HAL_UARTEx_DisableFifoMode(&huart3) != HAL_OK)
  {
    Error_Handler();
  }

}

static void MX_GPIO_Init(void)
{
  GPIO_InitTypeDef GPIO_InitStruct = {0};

  /* GPIO Ports Clock Enable */
  __HAL_RCC_GPIOC_CLK_ENABLE();
  __HAL_RCC_GPIOF_CLK_ENABLE();
  __HAL_RCC_GPIOH_CLK_ENABLE();
  __HAL_RCC_GPIOA_CLK_ENABLE();
  __HAL_RCC_GPIOB_CLK_ENABLE();
  __HAL_RCC_GPIOE_CLK_ENABLE();
  __HAL_RCC_GPIOD_CLK_ENABLE();
  __HAL_RCC_GPIOG_CLK_ENABLE();

  /*Configure GPIO pin Output Level */
  HAL_GPIO_WritePin(GPIOF, L298_IN2_Pin|L298_IN1_Pin, GPIO_PIN_RESET);

  /*Configure GPIO pin Output Level */
  HAL_GPIO_WritePin(GPIOA, ILI9341_CS_Pin|ILI9341_DC_Pin|ILI9341_RST_Pin, GPIO_PIN_RESET);

  /*Configure GPIO pin Output Level */
  HAL_GPIO_WritePin(GPIOE, CIRCULATING_PUMP_Pin|DRAINAGE_PUMP_Pin|FILL_VALVE_Pin|NUTRIENT_SOLN_A_Pin
                          |NUTRIENT_SOLN_B_Pin|PH_UP_VALVE_Pin, GPIO_PIN_RESET);

  /*Configure GPIO pin Output Level */
  HAL_GPIO_WritePin(PH_DOWN_VALVE_GPIO_Port, PH_DOWN_VALVE_Pin, GPIO_PIN_RESET);

  /*Configure GPIO pins : L298_IN2_Pin L298_IN1_Pin */
  GPIO_InitStruct.Pin = L298_IN2_Pin|L298_IN1_Pin;
  GPIO_InitStruct.Mode = GPIO_MODE_OUTPUT_PP;
  GPIO_InitStruct.Pull = GPIO_NOPULL;
  GPIO_InitStruct.Speed = GPIO_SPEED_FREQ_LOW;
  HAL_GPIO_Init(GPIOF, &GPIO_InitStruct);

  /*Configure GPIO pins : ILI9341_CS_Pin ILI9341_DC_Pin ILI9341_RST_Pin */
  GPIO_InitStruct.Pin = ILI9341_CS_Pin|ILI9341_DC_Pin|ILI9341_RST_Pin;
  GPIO_InitStruct.Mode = GPIO_MODE_OUTPUT_PP;
  GPIO_InitStruct.Pull = GPIO_NOPULL;
  GPIO_InitStruct.Speed = GPIO_SPEED_FREQ_VERY_HIGH;
  HAL_GPIO_Init(GPIOA, &GPIO_InitStruct);

  /*Configure GPIO pin : PB0 */
  GPIO_InitStruct.Pin = GPIO_PIN_0;
  GPIO_InitStruct.Mode = GPIO_MODE_AF_PP;
  GPIO_InitStruct.Pull = GPIO_NOPULL;
  GPIO_InitStruct.Speed = GPIO_SPEED_FREQ_HIGH;
  GPIO_InitStruct.Alternate = GPIO_AF10_OTG2_HS;
  HAL_GPIO_Init(GPIOB, &GPIO_InitStruct);

  /*Configure GPIO pins : CIRCULATING_PUMP_Pin DRAINAGE_PUMP_Pin FILL_VALVE_Pin NUTRIENT_SOLN_A_Pin
                           NUTRIENT_SOLN_B_Pin PH_UP_VALVE_Pin */
  GPIO_InitStruct.Pin = CIRCULATING_PUMP_Pin|DRAINAGE_PUMP_Pin|FILL_VALVE_Pin|NUTRIENT_SOLN_A_Pin
                          |NUTRIENT_SOLN_B_Pin|PH_UP_VALVE_Pin;
  GPIO_InitStruct.Mode = GPIO_MODE_OUTPUT_PP;
  GPIO_InitStruct.Pull = GPIO_NOPULL;
  GPIO_InitStruct.Speed = GPIO_SPEED_FREQ_LOW;
  HAL_GPIO_Init(GPIOE, &GPIO_InitStruct);

  /*Configure GPIO pin : PH_DOWN_VALVE_Pin */
  GPIO_InitStruct.Pin = PH_DOWN_VALVE_Pin;
  GPIO_InitStruct.Mode = GPIO_MODE_OUTPUT_PP;
  GPIO_InitStruct.Pull = GPIO_NOPULL;
  GPIO_InitStruct.Speed = GPIO_SPEED_FREQ_LOW;
  HAL_GPIO_Init(PH_DOWN_VALVE_GPIO_Port, &GPIO_InitStruct);

  /*Configure GPIO pin : PB14 */
  GPIO_InitStruct.Pin = GPIO_PIN_14;
  GPIO_InitStruct.Mode = GPIO_MODE_AF_PP;
  GPIO_InitStruct.Pull = GPIO_NOPULL;
  GPIO_InitStruct.Speed = GPIO_SPEED_FREQ_LOW;
  GPIO_InitStruct.Alternate = GPIO_AF12_OTG2_FS;
  HAL_GPIO_Init(GPIOB, &GPIO_InitStruct);

  /*Configure GPIO pins : Start_Button_Pin Estop_ButtonNC_Pin */
  GPIO_InitStruct.Pin = Start_Button_Pin|Estop_ButtonNC_Pin;
  GPIO_InitStruct.Mode = GPIO_MODE_IT_FALLING;
  GPIO_InitStruct.Pull = GPIO_PULLDOWN;
  HAL_GPIO_Init(GPIOC, &GPIO_InitStruct);

  /*Configure GPIO pin : Estop_ButtonNO_Pin */
  GPIO_InitStruct.Pin = Estop_ButtonNO_Pin;
  GPIO_InitStruct.Mode = GPIO_MODE_IT_RISING;
  GPIO_InitStruct.Pull = GPIO_PULLDOWN;
  HAL_GPIO_Init(Estop_ButtonNO_GPIO_Port, &GPIO_InitStruct);

  /*Configure GPIO pins : PG11 PG13 */
  GPIO_InitStruct.Pin = GPIO_PIN_11|GPIO_PIN_13;
  GPIO_InitStruct.Mode = GPIO_MODE_AF_PP;
  GPIO_InitStruct.Pull = GPIO_NOPULL;
  GPIO_InitStruct.Speed = GPIO_SPEED_FREQ_LOW;
  GPIO_InitStruct.Alternate = GPIO_AF11_ETH;
  HAL_GPIO_Init(GPIOG, &GPIO_InitStruct);

  /* EXTI interrupt init*/
  HAL_NVIC_SetPriority(Start_Button_EXTI_IRQn, 0, 0);
  HAL_NVIC_EnableIRQ(Start_Button_EXTI_IRQn);

}

/* USER CODE BEGIN 4 */

/*------------------------------------------------------------------------------
 *
 * 	HAL_GPIO_EXTI_Callback
 *
 * 		Interrupt Callback function for GPIO Interrupts
 *
------------------------------------------------------------------------------*/
void HAL_GPIO_EXTI_Callback(uint16_t GPIO_Pin)
{
    // If The INT Source Is The start button (PC6)
    if(GPIO_Pin == GPIO_PIN_6)
    {
      Buttons_start_button_intrpt(&SYSTEM_START_STATE);
    }

    // If The INT Source Is The EStop button (PC8 and PC7)
    // The EStop Button uses two wires to determine a press. One is normally
    // open (NO), and the other is normally closed (NC). This prevents any
    // transients from accidentally registering an ESTOP press
    else if (GPIO_Pin == GPIO_PIN_7 || GPIO_Pin == GPIO_PIN_8) {

    	if ( HAL_GPIO_ReadPin(GPIOC, GPIO_PIN_8) == GPIO_PIN_SET
    	&& ( HAL_GPIO_ReadPin(GPIOC, GPIO_PIN_7) == GPIO_PIN_RESET)) {
    		Buttons_estop_button_intrpt(&SYSTEM_ESTOP_STATE, SYSTEM_START_STATE);
    	}
    }
}

/*------------------------------------------------------------------------------
 *
 * 	ASGC_System_Startup
 *
 * 		Function called when system transitions on after the start button is
 * 		pressed.
 *
------------------------------------------------------------------------------*/
void ASGC_System_Startup() {
  ILI9341_Fill_Screen(BLACK);
}

/*------------------------------------------------------------------------------
 *
 * 	ASGC_System_ESTOP
 *
 * 		Function called to stop all movement and pacify the system when the
 * 		estop button is pressed. Function will need to be expanded as
 * 		functionality is implemented.
 *
------------------------------------------------------------------------------*/
void ASGC_System_ESTOP() {

	// Disable all tasks
	for (Scheduler_Task_ID_t i = 0; i < NUM_SCHEDULER_TASKS; i++) {
		Scheduler_Disable_Task(i);
	}

	//Send stop movement command over USB

	//Stop the mixing motor

	//Close all valves and stop all pumps

	//Set fans to 0 duty cycle (Will not fully stop fans, these fans will still
  //still spin at a minimum RPM at 0%)
  FAN_pwm_intf_set_duty(FAN_PWM_INTF_0_PCT_DUTY);

	//Send information to display indicating ESTOP Press

	//Send information to Raspberry Pi indicating ESTOP Press
  ILI9341_Fill_Screen(BLACK);
  Display_EStopScreen();
	//Stop USB Host Traffic

	//Shut down any analog traffic (EC/pH sensors)

	//Stop I2C Traffic
  HAL_I2C_DeInit(&hi2c1);

  //(Potentially) Deregister interrupts?

  // Disable interrupts
  __disable_irq();
  // Locked in loop until power cycle
  while(1) {
    //May need to send data to the display here
  }

}

/*------------------------------------------------------------------------------
 *
 * 	uint8_t ASGC_System_DispenseSeeds(float holeX, float holeY)
 *
 *    This function is a helper function which will:
 *      Move the gantry to the specified position (using G-Code)
 *      Poll for confirmation that gantry is at the hole
 *      Send PWM Signal to open the seed dispenser shutter
 *      Confirm the shutter has opened, then Wait for seeds to dispense
 *      Send PWM Signal to close seed dispenser shutter
 *      Confirm the shutter has closed, then Wait for 2 seconds
 *
 *    This function has the following return codes:
 *        0 = Success
 *        1 = Gantry failed to reach position
 *        2 = Shutter failed to open/close
 *        3 = X/Y Position is invalid
 *        4 = Helper function is busy/working
 *
------------------------------------------------------------------------------*/
uint8_t DispenseSeeds_HelperFunc(float holeX, float holeY) {

/*  // Enum for different states
  typedef enum {
    COMPLETE = 0,
    MOVING_TO_HOLE,
    OPENING_SHUTTER,
    CLOSING_SHUTTER,
    BUSY_WAITING
  } DISPENSING_STATE;

  // Initialize static vars
  static uint64_t referenceTimestamp = 0;
  static DISPENSING_STATE functionState = MOVING_TO_HOLE;
  static DISPENSING_STATE previousState = BUSY_WAITING;

  switch (functionState) {
    case MOVING_TO_HOLE:
      // Check X/Y position is within bounds -- if not, return XY error code
      if (holeX < CNC_MIN_X_POS_MM || holeX > CNC_MAX_X_POS_MM
          || holeY < CNC_MIN_Y_POS_MM || holeY > CNC_MAX_Y_POS_MM) {
        return DISPENSE_FAIL_XY_POS;
      }

      // Update state machine variables
      functionState = BUSY_WAITING;
      previousState = MOVING_TO_HOLE;
      // referenceTimestamp = getTimestamp(); // wait until Timer.h is included to update timestamp with current time

      // Perform associated function (move to hole)
      CNC_Move_To_Pos(holeX, holeY);
      break;

    case OPENING_SHUTTER:
      // Update state machine variables
      functionState = BUSY_WAITING;
      previousState = OPENING_SHUTTER;
      // referenceTimestamp = getTimestamp(); // wait until Timer.h is included to update timestamp with current time

      // Perform associated function (open shutter)
      // open_shutter();
      break;

    case CLOSING_SHUTTER:
      // Update state machine variables
      functionState = BUSY_WAITING;
      previousState = OPENING_SHUTTER;
      // referenceTimestamp = getTimestamp(); // wait until Timer.h is included to use getTimestamp()

      // Perform associated function (close shutter)
      // close_shutter();
      break;

    case BUSY_WAITING:

      // Use our previous state to determine our logic in waiting
      switch (previousState) {
        case MOVING_TO_HOLE:
          // After we've given some time to move, confirm gantry is at hole
          // if (getTimestamp() - referenceTimestamp > DISPENSE_MOVING_MS) { // wait until Timer.h is included to use getTimestamp()

          // Check if gantry is in position
          //   if (GantryInPosition)
          //    functionState = OPENING_SHUTTER;
          //    previousState = BUSY_WAITING;
          //    return DISPENSE_BUSY;

          // If gantry is not in position, return gantry fail code
          //   functionState = MOVING_TO_HOLE;
          //   previousState = BUSY_WAITING;
          //   referenceTimestamp = 0;
          //   return DISPENSE_FAIL_GANTRY;
          // }
          break;

        case OPENING_SHUTTER:
          // Confirm shutter is open and that seeds have had time to dispense (0.5s)
          // if (ShutterIsOpen && seedsHadTimeToDisperse)
          //  functionState = CLOSING_SHUTTER;
          //  previousState = BUSY_WAITING;
          //  return DISPENSE_BUSY;

          // If the shutter doesn't open after 2 seconds, return shutter fail code
          // if (getTimestamp() - referenceTimestamp > 2000) { // wait until Timer.h is included to use getTimestamp()
          //   functionState = MOVING_TO_HOLE;
          //   previousState = BUSY_WAITING;
          //   referenceTimestamp = 0;
          //   return DISPENSE_FAIL_SHUTTER;
          // }
          break;

        case CLOSING_SHUTTER:
          // Confirm shutter is closed
          // if (ShutterIsClosed)
          //  functionState = MOVING_TO_HOLE;
          //  previousState = BUSY_WAITING;
          //  referenceTimestamp = 0;
          //  return COMPLETE;

          // If the shutter doesn't open after 2 seconds, return shutter fail code
          // if (getTimestamp() - referenceTimestamp > 2000) { // wait until Timer.h is included to use getTimestamp()
          //   functionState = MOVING_TO_HOLE;
          //   previousState = BUSY_WAITING;
          //   referenceTimestamp = 0;
          //   return DISPENSE_FAIL_SHUTTER;
          // }
          break;

        // This should never execute, but just incase, reset our FSM
        default:
          functionState = MOVING_TO_HOLE;
          previousState = BUSY_WAITING;
          referenceTimestamp = 0;
          return DISPENSE_UNKNOWN_FAIL;
      }

      return DISPENSE_BUSY;
      break;

    // This should never execute, but just incase, reset our FSM
    default:
      functionState = MOVING_TO_HOLE;
      previousState = BUSY_WAITING;
      referenceTimestamp = 0;
      return DISPENSE_UNKNOWN_FAIL;
  }

  // Return as busy if we break out of switch statement
  return DISPENSE_BUSY;
  */
 return DISPENSE_SUCCESS;
}

/*------------------------------------------------------------------------------
 *
 * 	uint16_t ASGC_System_DispenseSeeds()
 *
 * 		Function called to dispense seeds over the course of several minutes
 *    This function is non-blocking and designed to be called repeatedly
 *
 *    This function returns the number of seeds that FAILED to dispense
 *      (so ideally, this function returns 0)
 *
 *    If this function returns a value less than or equal to the number of seeds
 *    in the system, then it's caller knows it is finished dispensing
 *
 *    Otherwise, if this function returns a value greater than the number of seeds
 *    in the system, then it's caller knows it is still working (SYSTEM_BUSY)
 *
------------------------------------------------------------------------------*/
uint16_t ASGC_System_DispenseSeeds() {

  static uint8_t channel = 0;
  static uint8_t hole = 0;
  static uint16_t failed_dispenses = 0;

  /*
    Constant indicating the system is busy and has not yet finished dispensing
    This value is guaranteed to be greater than the maximum number of seeds
    in the system, so if this value is returned, the caller knows the system is working
  */
/*
  const uint16_t SYSTEM_BUSY = CNC_NUM_NFT_CHANNELS * CNC_NUM_NET_POTS_PER_NFT_CHANNEL + 1;

  // Check if the current hole is filled -- if so, skip it
  if (!CNC_DATA.channel_holes[channel][hole].is_empty) {
    // Move to next hole
    hole++;
    if (hole >= CNC_NUM_NET_POTS_PER_NFT_CHANNEL) {
      hole = 0;
      channel++;
      if (channel >= CNC_NUM_NFT_CHANNELS) {

        // If we've iterated through all channels and holes, reset all static values to 0
        uint16_t returnValue = failed_dispenses;
        channel = 0;
        hole = 0;
        failed_dispenses = 0;
        return returnValue;
      }
    }

    // Return as busy if we haven't iterated through all holes
    return SYSTEM_BUSY;
  }

  // Attempt to dispense a seed at the current channel&hole location
  uint8_t dispense_result = DispenseSeeds_HelperFunc(CNC_DATA.channel_holes[channel][hole].x_pos, CNC_DATA.channel_holes[channel][hole].y_pos);

  // If we're busy-waiting (safely, non-blocking), keep the same channel/hole indexes and return early
  if (dispense_result == DISPENSE_BUSY) {
      return SYSTEM_BUSY;
  }

  // If dispense failed for any reason other than busy, increment failed dispense counter
  else if (dispense_result != DISPENSE_SUCCESS) {
    failed_dispenses++;
  }

  // Update CNC Data so hole is not empty
  else if (dispense_result == DISPENSE_SUCCESS) {
    CNC_DATA.channel_holes[channel][hole].is_empty = 0;
  }

  // Move to next hole as dispense attempt was completed
  hole++;
  if (hole >= CNC_NUM_NET_POTS_PER_NFT_CHANNEL) {
    hole = 0;
    channel++;
    if (channel >= CNC_NUM_NFT_CHANNELS) {

      // If we've iterated through all channels and holes, reset all static values to 0
      uint16_t returnValue = failed_dispenses;
      channel = 0;
      hole = 0;
      failed_dispenses = 0;
      return returnValue;
    }
  }

  // Return as busy if we haven't iterated through all holes
  return SYSTEM_BUSY; */
  return SYS_SUCCESS;
}

/*XXXXXXXXXXXXXXXXXXXXXXXXXXXXXXXXXXXXXXXXXXXXXXXXXXXXXXXXXXXXXXXXXXXXXXXXXXXXX
XXXXXXXXXXXXXXXXXXXXXXXXXXXXXXXXXXXXXXXXXXXXXXXXXXXXXXXXXXXXXXXXXXXXXXXXXXXXXXX
 *
 * 	SCHEDULER TASK FUNCTIONS
 *
 *  The following functions are all tasks that are scheduled in Scheduler.c.
 *  They are all in main.c to have global access.
 *
XXXXXXXXXXXXXXXXXXXXXXXXXXXXXXXXXXXXXXXXXXXXXXXXXXXXXXXXXXXXXXXXXXXXXXXXXXXXXXX
XXXXXXXXXXXXXXXXXXXXXXXXXXXXXXXXXXXXXXXXXXXXXXXXXXXXXXXXXXXXXXXXXXXXXXXXXXXXX*/

/*------------------------------------------------------------------------------
 *
 * 	AHT20_Request_Measurement_TASK
 *
 * 		Scheduler task to request the AHT20 sensor to take a .
 *    Tasks should do very little computation beyond calling functions.
 *    All task functions should return a SYS_RESULT value.
 *
------------------------------------------------------------------------------*/
SYS_RESULT AHT20_Request_Measurement_TASK() {
  SYS_RESULT ret_val;

  ret_val = AHT20_Request_Measurement(&hi2c1);

  if (ret_val == SYS_SUCCESS) {
    // Measurement collection and calculation for AHT20 takes 80ms.
    Scheduler_Schedule_Task_ms_From_Now(AHT20_GET_DATA_TASK, 80);
  }

  return ret_val;
}

/*------------------------------------------------------------------------------
 *
 * 	AHT20_Get_Data_TASK
 *
 * 		Scheduler task to get data from the AHT20 sensor.
 *    Tasks should do very little computation beyond calling functions.
 *    All task functions should return a SYS_RESULT value.
 *
------------------------------------------------------------------------------*/
SYS_RESULT AHT20_Get_Data_TASK() {
  AHT20_data = AHT20_Get_Data(&hi2c1);

  // Send Data to Raspberry Pi
  RPI_UART_Send_AHT20_Pkt(AHT20_data, 4);
  // Send Data to Display
  ILI9341_Update_Temperature(AHT20_data.temperature);
  ILI9341_Update_Humidity(AHT20_data.humidity);

  return SYS_SUCCESS;
}

/*------------------------------------------------------------------------------
 *
 * 	SEN0169_Get_Data_TASK
 *
 * 		Scheduler task to get pH data from the SEN0169 sensor.
 *    Tasks should do very little computation beyond calling functions.
 *    All task functions should return a SYS_RESULT value.
 *
------------------------------------------------------------------------------*/
SYS_RESULT SEN0169_Get_Data_TASK() {
  SEN0169_Measure(&pH_Data);

  // Send Data to Raspberry Pi
  RPI_UART_Send_SEN0169_Pkt(pH_Data, 4);

  // Send Data to Display
  ILI9341_Update_WaterpH(pH_Data);

  return SYS_SUCCESS;
}

/*------------------------------------------------------------------------------
 *
 * 	SEN0244_Get_Data_TASK
 *
 * 		Scheduler task to get TDS data from the SEN0244 sensor.
 *    Tasks should do very little computation beyond calling functions.
 *    All task functions should return a SYS_RESULT value.
 *
------------------------------------------------------------------------------*/
SYS_RESULT SEN0244_Get_Data_TASK() {
  SEN0244_Measure(&tdsData, AHT20_data.temperature);

  // Send Data to Raspberry Pi
  RPI_UART_Send_SEN0244_Pkt(tdsData, 4);

  // Send Data to Display
  ILI9341_Update_WaterTDS(tdsData);

  return SYS_SUCCESS;
}

/*------------------------------------------------------------------------------
 *
 * 	AS7341_Get_Data_TASK
 *
 * 		Scheduler task to get spectral data from the AS7341 sensor and update the
 *    daily light integral (DLI) calculation.
 *    Tasks should do very little computation beyond calling functions.
 *    All task functions should return a SYS_RESULT value.
 *
------------------------------------------------------------------------------*/
SYS_RESULT AS7341_Get_Data_TASK() {
  Adafruit_AS7341_ReadAllChannels();

  /*----------------------------------------------------------------------------
  Use GCC Pragmas to suppress the following warning:
  warning: passing argument 1 of 'Adafruit_AS7341_getAllChannels' from
  incompatible pointer type
  ----------------------------------------------------------------------------*/
  #pragma GCC diagnostic push
  #pragma GCC diagnostic ignored "-Wincompatible-pointer-types"
  Adafruit_AS7341_getAllChannels(&AS7341_Values);
  #pragma GCC diagnostic pop

  // Update DLI calculation

  // Send Data to Raspberry Pi
  RPI_UART_Send_AS7341_Pkt(AS7341_Values, 5);
  // Send Data to Display

  return SYS_SUCCESS;
}

/*------------------------------------------------------------------------------
 *
 * 	AS7341_Is_Midnight_TASK
 *
 * 		Scheduler task to check if it is midnight has been reached
 *    Logic/functionality for if midnight has passed will be added later
 *
 *    Tasks should do very little computation beyond calling functions.
 *    All task functions should return a SYS_RESULT value.
 *
------------------------------------------------------------------------------*/
SYS_RESULT AS7341_Is_Midnight_TASK() {

  /*
    Check if it's midnight using the current elapsed UnixTime
    Returns IS_MIDNIGHT (1) if true, NOT_MIDNIGHT (0) if false
    Remove this comment after full implementation
  */
  if (isMidnight()) {
    // Logic to be applied if it is midnight goes here
    // Reset DLI calculation
    // Probably have to send a packet to raspberry pi to reset its DLI data
  }

  return SYS_SUCCESS;
}

/*------------------------------------------------------------------------------
 *
 * 	CNC_Dispense_Seeds_TASK
 *
 * 		Scheduler task to invoke the mini state machine that controls the dispersal
 *    of seeds.
 *
------------------------------------------------------------------------------*/
SYS_RESULT CNC_Dispense_Seeds_TASK() {
  CNC_Dispense_Seeds();

  return SYS_SUCCESS;
}

/*------------------------------------------------------------------------------
 *
 * 	ILI9341_Change_Dashboard_Screen_TASK
 *
 * 		If the Dashboard is the currently displayed screen, this task will iterate
 *    through the Dashboard slides
 *
------------------------------------------------------------------------------*/

SYS_RESULT ILI9341_Change_Dashboard_Screen_TASK() {

  if (ILI9431_Get_Current_Dashboard_Page() == DASHBOARD_NOT_ACTIVE) {
    return SYS_SUCCESS;
  }

  // Iterate the dashboard screen
  ILI9431_Set_Current_Dashboard_Page((ILI9431_Get_Current_Dashboard_Page() + 1) % NUM_DASHBOARD_PAGES);
  ILI9341_Draw_Filled_Rectangle_Coord(0, 0, 256, 240, BLACK);
  Write_Logo();
  Display_Dashboard();

  return SYS_SUCCESS;
}

/*------------------------------------------------------------------------------
 *
 * 	ILI9341_Update_Uptime_TASK
 *
 * 		Updates the uptime value for the ILI9341 display
 *
------------------------------------------------------------------------------*/

SYS_RESULT ILI9341_Update_Uptime_TASK() {
  ILI9341_Update_Uptime(FSM_GetSystemUptime());

  return SYS_SUCCESS;
}

/* USER CODE END 4 */

void Error_Handler(void)
{
  /* USER CODE BEGIN Error_Handler_Debug */
  /* User can add his own implementation to report the HAL error return state */
  __disable_irq();
  while (1)
  {
	  //TODO: Probably should put some error handling in here, or something to let user know error has occurred
  }
  /* USER CODE END Error_Handler_Debug */
}
